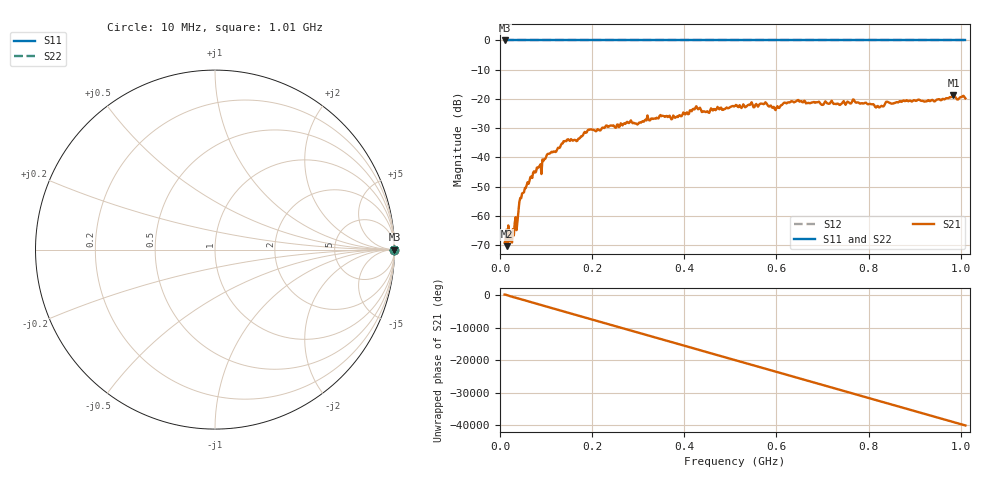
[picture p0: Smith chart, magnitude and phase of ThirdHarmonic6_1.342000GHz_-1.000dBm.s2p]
! 8/16/2025 3:04:00 PM
! C:\ANRITSUVNA\TEMP\TEMP.S2P
! CHANNEL.1
! TR.MEASUREMENT
! RAW.DATA
! RF.CORRECTION.OFF
! AVERAGING.OFF
! IF.BANDWIDTH: 5KHZ
! SWEEPTYPE:  FREQ.SWEEP(Linear)
! Reference Plane Port Info
! PORT:  PORT1  PORT2
! DISTANCE:  0  m  0  m
! TIME:  0  s  0  s
! PHASE.OFFSET:  0  deg.  0  deg.
! LOSS:  0  dB  0  dB
! REF.LOSS:  0  dB  0  dB
! REF.FREQ:  0  Hz  0  Hz
! Power Info
! POWER:  -20  dBm  -20  dBm
! EFF.POWER:  -20  dBm  -20  dBm
! SOURCE.ATTEN:  0  dB  0  dB
! TEST.ATTEN:  0  dB  0  dB
# GHZ S RI R 50.0
! FREQ.GHZ  S11RE  S11IM  S21RE  S21IM  S12RE  S12IM  S22RE  S22IM
!; PortSelection: Port_12
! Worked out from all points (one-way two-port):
!   501 points, 10 MHz to 1.01 GHz, reference 50 ohm
!   highest |S21| = -18.69 dB at 984 MHz (marker M1); lowest = -70.4 dB at 16 MHz (marker M2)
!   lowest |S11| = 0.0 dB at 10 MHz (marker M3)
!   |S11| at or under -10 dB: nowhere
!   |S22| runs from 0.0 to 0.0 dB; largest |S21 - S12| = 1.1
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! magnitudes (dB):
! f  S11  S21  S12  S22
! 10 MHz  0.0  -69.2  0.0  0.0
! 16 MHz  0.0  -70.4  0.0  0.0
! 26 MHz  0.0  -69.2  0.0  0.0
! 34 MHz  0.0  -60.5  0.0  0.0
! 46 MHz  0.0  -54.0  0.0  0.0
! 76 MHz  0.0  -45.2  0.0  0.0
! 138 MHz  0.0  -34.5  0.0  0.0
! 178 MHz  0.0  -32.8  0.0  0.0
! 194 MHz  0.0  -30.6  0.0  0.0
! 344 MHz  0.0  -26.7  0.0  0.0
! 424 MHz  0.0  -23.1  0.0  0.0
! 450 MHz  0.0  -24.2  0.0  0.0
! 510 MHz  0.0  -22.4  0.0  0.0
! 574 MHz  0.0  -21.6  0.0  0.0
! 596 MHz  0.0  -23.4  0.0  0.0
! 644 MHz  0.0  -20.7  0.0  0.0
! 678 MHz  0.0  -21.2  0.0  0.0
! 768 MHz  0.0  -20.3  0.0  0.0
! 820 MHz  0.0  -22.4  0.0  0.0
! 844 MHz  0.0  -21.2  0.0  0.0
! 984 MHz  0.0  -18.7  0.0  0.0
! 1.01 GHz  0.0  -19.8  0.0  0.0
